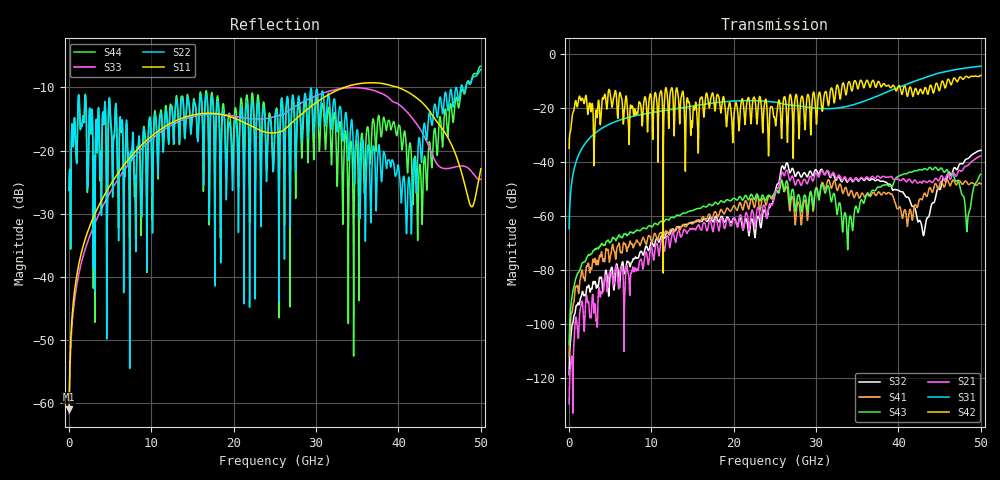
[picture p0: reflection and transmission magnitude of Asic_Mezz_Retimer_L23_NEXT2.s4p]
! Created Thu Jun 27 16:04:48 2019
# hz S ma R 50
! 4 Port Network Data from SP1.SP block
! freq  magS11  angS11  magS12  angS12  magS13  angS13  magS14  angS14
!  magS21  angS21  magS22  angS22  magS23  angS23  magS24  angS24
!  magS31  angS31  magS32  angS32  magS33  angS33  magS34  angS34
!  magS41  angS41  magS42  angS42  magS43  angS43  magS44  angS44
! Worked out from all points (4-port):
!   4996 points, 50 MHz to 50 GHz, reference 50 ohm
!   strongest paths, dB at 50 MHz, 12.54 GHz, 25.03 GHz, 37.52 GHz, 50 GHz:
!     S42: -35.0, -12.6, -24.7, -10.2, -7.9
!     S31: -64.7, -20.5, -17.9, -15.5, -4.5
!     S21: -129.7, -66.8, -52.3, -45.2, -37.7
!     S43: -107.6, -60.4, -51.1, -49.3, -44.6
!     S41: -112.0, -64.9, -51.5, -51.3, -48.1
!     S32: -118.9, -65.1, -51.3, -46.6, -35.7
!   lowest |S11| = -61.0 dB at 50 MHz (marker M1), VSWR 1.00, Z = 50.1 + j0.0702 ohm
!   |S11| at or under -10 dB: start of sweep to 33.4 GHz; 39.97 GHz to end of sweep
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5e7  0.0008908 51.9  3.264e-07 93.0  0.000579 86.5  2.526e-06 86.5
     3.264e-07 93.0  0.04834 -87.8  1.136e-06 85.9  0.01778 52.9
     0.000579 86.5  1.136e-06 85.9  0.0008298 48.0  4.148e-06 84.0
     2.526e-06 86.5  0.01778 52.9  4.148e-06 84.0  0.04846 -87.8
2.64e9  0.02605 69.9  1.385e-05 166.4  0.02866 70.3  0.0001053 39.1
        1.385e-05 166.4  0.1615 71.7  4.099e-05 77.3  0.1031 77.8
        0.02866 70.3  4.099e-05 77.3  0.02179 72.9  0.0001936 35.5
        0.0001053 39.1  0.1031 77.8  0.0001936 35.5  0.1583 71.3
1.276e10  0.1695 -3.3  0.0004309 60.7  0.09535 14.6  0.000497 143.5
          0.0004309 60.7  0.1166 -15.5  0.0005423 75.6  0.04181 -172.5
          0.09535 14.6  0.0005423 75.6  0.1627 2.4  0.0009235 153.7
          0.000497 143.5  0.04181 -172.5  0.0009235 153.7  0.1274 -4.8
2.645e10  0.1527 -48.1  0.007042 72.2  0.1151 -100.7  0.00348 76.0
          0.007042 72.2  0.2549 -47.7  0.00958 76.6  0.06095 45.9
          0.1151 -100.7  0.00958 76.6  0.2022 -52.4  0.004464 75.5
          0.00348 76.0  0.06095 45.9  0.004464 75.5  0.2456 -60.3
3.388e10  0.3239 -74.1  0.004399 -114.1  0.1082 149.5  0.002452 173.2
          0.004399 -114.1  0.1148 -150.8  0.004349 -57.7  0.2847 31.6
          0.1082 149.5  0.004349 -57.7  0.3146 -87.4  0.0003213 -58.1
          0.002452 173.2  0.2847 31.6  0.0003213 -58.1  0.0231 178.8
4.305e10  0.2342 -141.4  0.004408 82.2  0.3584 46.5  0.002444 106.4
          0.004408 82.2  0.1546 -4.2  0.0004304 90.5  0.197 -128.7
          0.3584 46.5  0.0004304 90.5  0.1324 -140.2  0.007399 172.8
          0.002444 106.4  0.197 -128.7  0.007399 172.8  0.07562 -22.9
5e10  0.07192 44.7  0.01298 -119.9  0.5951 -46.2  0.003925 144.5
      0.01298 -119.9  0.4404 -59.7  0.01644 -112.6  0.4016 52.2
      0.5951 -46.2  0.01644 -112.6  0.05952 -49.8  0.005919 96.1
      0.003925 144.5  0.4016 52.2  0.005919 96.1  0.4665 -53.1
